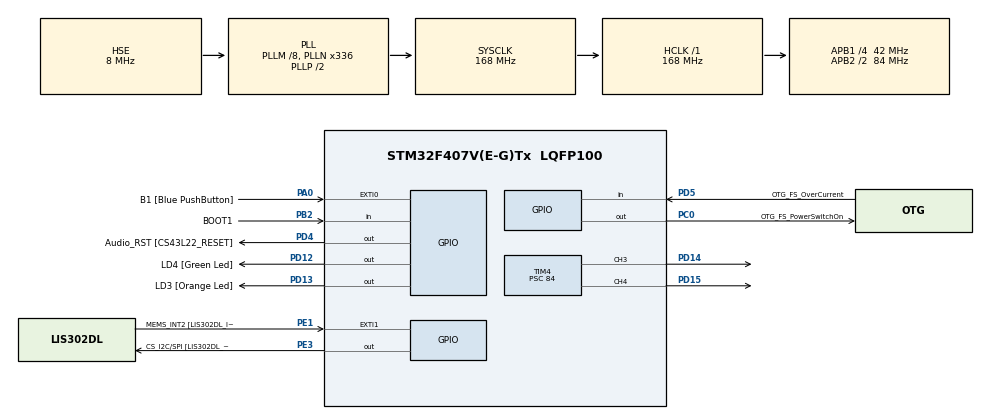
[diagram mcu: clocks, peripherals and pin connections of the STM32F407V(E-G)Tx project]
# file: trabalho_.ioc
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Dma.Request0=TIM4_CH3
Dma.TIM4_CH3.0.Direction=DMA_MEMORY_TO_PERIPH
Dma.TIM4_CH3.0.FIFOMode=DMA_FIFOMODE_DISABLE
Dma.TIM4_CH3.0.Instance=DMA1_Stream7
Dma.TIM4_CH3.0.MemDataAlignment=DMA_MDATAALIGN_HALFWORD
Dma.TIM4_CH3.0.MemInc=DMA_MINC_DISABLE
Dma.TIM4_CH3.0.Mode=DMA_CIRCULAR
Dma.TIM4_CH3.0.PeriphDataAlignment=DMA_PDATAALIGN_HALFWORD
Dma.TIM4_CH3.0.PeriphInc=DMA_PINC_DISABLE
Dma.TIM4_CH3.0.Priority=DMA_PRIORITY_LOW
Mcu.Family=STM32F4
Mcu.Name=STM32F407V(E-G)Tx
Mcu.Package=LQFP100
NVIC.DMA1_Stream7_IRQn=true\:0\:0\:false\:false\:true\:false\:true\:true
NVIC.PriorityGroup=NVIC_PRIORITYGROUP_0
PA0-WKUP.GPIO_Label=B1 [Blue PushButton]
PA0-WKUP.GPIO_ModeDefaultEXTI=GPIO_MODE_EVT_RISING
PA0-WKUP.GPIO_PuPd=GPIO_NOPULL
PA0-WKUP.Signal=GPXTI0
PA10.GPIO_Label=OTG_FS_ID
PA10.GPIO_Mode=GPIO_MODE_AF_PP
PA10.GPIO_PuPd=GPIO_NOPULL
PA10.GPIO_Speed=GPIO_SPEED_FREQ_LOW
PA10.Signal=USB_OTG_FS_ID
PA11.GPIO_Label=OTG_FS_DM
PA11.GPIO_Mode=GPIO_MODE_AF_PP
PA11.GPIO_PuPd=GPIO_NOPULL
PA11.GPIO_Speed=GPIO_SPEED_FREQ_LOW
PA11.Signal=USB_OTG_FS_DM
PA12.GPIO_Label=OTG_FS_DP
PA12.GPIO_Mode=GPIO_MODE_AF_PP
PA12.GPIO_PuPd=GPIO_NOPULL
PA12.GPIO_Speed=GPIO_SPEED_FREQ_LOW
PA12.Signal=USB_OTG_FS_DP
PA13.GPIO_Label=SWDIO
PA13.Mode=Serial_Wire
PA13.Signal=SYS_JTMS-SWDIO
PA14.GPIO_Label=SWCLK
PA14.Mode=Serial_Wire
PA14.Signal=SYS_JTCK-SWCLK
PA4.GPIO_Label=I2S3_WS [CS43L22_LRCK]
PA4.GPIO_Mode=GPIO_MODE_AF_PP
PA4.GPIO_PuPd=GPIO_NOPULL
PA4.GPIO_Speed=GPIO_SPEED_FREQ_LOW
PA4.Signal=I2S3_WS
PA5.GPIO_Label=SPI1_SCK [LIS302DL_SCL/SPC]
PA5.GPIO_Mode=GPIO_MODE_AF_PP
PA5.GPIO_PuPd=GPIO_NOPULL
PA5.GPIO_Speed=GPIO_SPEED_FREQ_LOW
PA5.Signal=SPI1_SCK
PA6.GPIO_Label=SPI1_MISO [LIS302DL_SDO]
PA6.GPIO_Mode=GPIO_MODE_AF_PP
PA6.GPIO_PuPd=GPIO_NOPULL
PA6.GPIO_Speed=GPIO_SPEED_FREQ_LOW
PA6.Signal=SPI1_MISO
PA7.GPIO_Label=SPI1_MOSI [LIS302DL_SDA/SDI/SDO]
PA7.GPIO_Mode=GPIO_MODE_AF_PP
PA7.GPIO_PuPd=GPIO_NOPULL
PA7.GPIO_Speed=GPIO_SPEED_FREQ_LOW
PA7.Signal=SPI1_MOSI
PA9.GPIO_Label=VBUS_FS
PA9.GPIO_Mode=GPIO_MODE_INPUT
PA9.GPIO_PuPd=GPIO_NOPULL
PA9.Signal=USB_OTG_FS_VBUS
PB10.GPIO_Label=CLK_IN [MP45DT02_CLK]
PB10.GPIO_Mode=GPIO_MODE_AF_PP
PB10.GPIO_PuPd=GPIO_NOPULL
PB10.GPIO_Speed=GPIO_SPEED_FREQ_LOW
PB10.Signal=I2S2_CK
PB2.GPIO_Label=BOOT1
PB2.GPIO_Mode=GPIO_MODE_INPUT
PB2.GPIO_PuPd=GPIO_NOPULL
PB2.Signal=GPIO_Input
PB3.GPIO_Label=SWO
PB3.Signal=SYS_JTDO-SWO
PB6.GPIO_Label=Audio_SCL [CS43L22_SCL]
PB6.GPIO_Mode=GPIO_MODE_AF_OD
PB6.GPIO_Pu=GPIO_PULLUP
PB6.GPIO_PuPd=GPIO_NOPULL
PB6.GPIO_Speed=GPIO_SPEED_FREQ_LOW
PB6.Signal=I2C1_SCL
PB9.GPIO_Label=Audio_SDA [CS43L22_SDA]
PB9.GPIO_Mode=GPIO_MODE_AF_OD
PB9.GPIO_Pu=GPIO_PULLUP
PB9.GPIO_PuPd=GPIO_NOPULL
PB9.GPIO_Speed=GPIO_SPEED_FREQ_LOW
PB9.Signal=I2C1_SDA
PC0.GPIO_Label=OTG_FS_PowerSwitchOn
PC0.GPIO_PuPd=GPIO_NOPULL
PC0.GPIO_Speed=GPIO_SPEED_FREQ_LOW
PC0.PinState=GPIO_PIN_SET
PC0.Signal=GPIO_Output
PC10.GPIO_Label=I2S3_SCK [CS43L22_SCLK]
PC10.GPIO_Mode=GPIO_MODE_AF_PP
PC10.GPIO_PuPd=GPIO_NOPULL
PC10.GPIO_Speed=GPIO_SPEED_FREQ_LOW
PC10.Signal=I2S3_CK
PC12.GPIO_Label=I2S3_SD [CS43L22_SDIN]
PC12.GPIO_Mode=GPIO_MODE_AF_PP
PC12.GPIO_PuPd=GPIO_NOPULL
PC12.GPIO_Speed=GPIO_SPEED_FREQ_LOW
PC12.Signal=I2S3_SD
PC14-OSC32_IN.GPIO_Label=PC14-OSC32_IN
PC14-OSC32_IN.Mode=LSE-External-Oscillator
PC14-OSC32_IN.Signal=RCC_OSC32_IN
PC15-OSC32_OUT.GPIO_Label=PC15-OSC32_OUT
PC15-OSC32_OUT.Mode=LSE-External-Oscillator
PC15-OSC32_OUT.Signal=RCC_OSC32_OUT
PC3.GPIO_Label=PDM_OUT [MP45DT02_DOUT]
PC3.GPIO_Mode=GPIO_MODE_AF_PP
PC3.GPIO_PuPd=GPIO_NOPULL
PC3.GPIO_Speed=GPIO_SPEED_FREQ_LOW
PC3.Signal=I2S2_SD
PC7.GPIO_Label=I2S3_MCK [CS43L22_MCLK]
PC7.GPIO_Mode=GPIO_MODE_AF_PP
PC7.GPIO_PuPd=GPIO_NOPULL
PC7.GPIO_Speed=GPIO_SPEED_FREQ_LOW
PC7.Signal=I2S3_MCK
PD12.GPIO_Label=LD4 [Green Led]
PD12.GPIO_PuPd=GPIO_NOPULL
PD12.GPIO_Speed=GPIO_SPEED_FREQ_LOW
PD12.Signal=GPIO_Output
PD13.GPIO_Label=LD3 [Orange Led]
PD13.GPIO_PuPd=GPIO_NOPULL
PD13.GPIO_Speed=GPIO_SPEED_FREQ_LOW
PD13.Signal=GPIO_Output
PD14.Signal=S_TIM4_CH3
PD15.Signal=S_TIM4_CH4
PD4.GPIO_Label=Audio_RST [CS43L22_RESET]
PD4.GPIO_PuPd=GPIO_NOPULL
PD4.GPIO_Speed=GPIO_SPEED_FREQ_LOW
PD4.Signal=GPIO_Output
PD5.GPIO_Label=OTG_FS_OverCurrent
PD5.GPIO_Mode=GPIO_MODE_INPUT
PD5.GPIO_PuPd=GPIO_NOPULL
PD5.Signal=GPIO_Input
PE1.GPIO_Label=MEMS_INT2 [LIS302DL_INT2]
PE1.GPIO_ModeDefaultEXTI=GPIO_MODE_EVT_RISING
PE1.GPIO_PuPd=GPIO_NOPULL
PE1.Signal=GPXTI1
PE3.GPIO_Label=CS_I2C/SPI [LIS302DL_CS_I2C/SPI]
PE3.GPIO_PuPd=GPIO_NOPULL
PE3.GPIO_Speed=GPIO_SPEED_FREQ_LOW
PE3.Signal=GPIO_Output
PH0-OSC_IN.GPIO_Label=PH0-OSC_IN
PH0-OSC_IN.Mode=HSE-External-Oscillator
PH0-OSC_IN.Signal=RCC_OSC_IN
PH1-OSC_OUT.GPIO_Label=PH1-OSC_OUT
PH1-OSC_OUT.Mode=HSE-External-Oscillator
PH1-OSC_OUT.Signal=RCC_OSC_OUT
ProjectManager.HeapSize=0x200
ProjectManager.StackSize=0x400
ProjectManager.TargetToolchain=STM32CubeIDE
RCC.48MHZClocksFreq_Value=48000000
RCC.AHBFreq_Value=168000000
RCC.APB1CLKDivider=RCC_HCLK_DIV4
RCC.APB1Freq_Value=42000000
RCC.APB1TimFreq_Value=84000000
RCC.APB2CLKDivider=RCC_HCLK_DIV2
RCC.APB2Freq_Value=84000000
RCC.APB2TimFreq_Value=168000000
RCC.CortexFreq_Value=168000000
RCC.HCLKFreq_Value=168000000
RCC.HSE_VALUE=8000000
RCC.HSI_VALUE=16000000
RCC.PLLM=8
RCC.PLLN=336
RCC.PLLQ=7
RCC.PLLSourceVirtual=RCC_PLLSOURCE_HSE
RCC.SYSCLKFreq_VALUE=168000000
RCC.SYSCLKSource=RCC_SYSCLKSOURCE_PLLCLK
RCC.VCOOutputFreq_Value=336000000
SH.S_TIM4_CH3.0=TIM4_CH3,PWM Generation3 CH3
SH.S_TIM4_CH4.0=TIM4_CH4,PWM Generation4 CH4
TIM4.AutoReloadPreload=TIM_AUTORELOAD_PRELOAD_DISABLE
TIM4.Channel-PWM\ Generation3\ CH3=TIM_CHANNEL_3
TIM4.Channel-PWM\ Generation4\ CH4=TIM_CHANNEL_4
TIM4.OCFastMode_PWM-PWM\ Generation3\ CH3=TIM_OCFAST_DISABLE
TIM4.OCMode_PWM-PWM\ Generation3\ CH3=TIM_OCMODE_PWM1
TIM4.OCMode_PWM-PWM\ Generation4\ CH4=TIM_OCMODE_PWM1
TIM4.OCPolarity_4=TIM_OCPOLARITY_LOW
TIM4.Period=1000
TIM4.Prescaler=84
VP_TIM4_VS_ClockSourceINT.Mode=Internal
board=STM32F407G-DISC1

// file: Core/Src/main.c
/* USER CODE BEGIN Header */
/**
  ******************************************************************************
  * @file           : main.c
  * @brief          : Main program body
  ******************************************************************************
  * @attention
  *
  * Copyright (c) 2023 STMicroelectronics.
  * All rights reserved.
  *
  * This software is licensed under terms that can be found in the LICENSE file
  * in the root directory of this software component.
  * If no LICENSE file comes with this software, it is provided AS-IS.
  *
  ******************************************************************************
  */
/* USER CODE END Header */
#include "main.h"

/* USER CODE BEGIN Includes */
#include <math.h>

/* USER CODE END Includes */

TIM_HandleTypeDef htim4;
DMA_HandleTypeDef hdma_tim4_ch3;

void SystemClock_Config(void);
static void MX_GPIO_Init(void);
static void MX_DMA_Init(void);
static void MX_TIM4_Init(void);

/* USER CODE BEGIN 0 */

static const uint16_t TIM_PWM_PERIOD = 1000;
static uint32_t pwmVal = 50;
static uint32_t sinPwmVal = 0;

void HAL_TIM_PWM_PulseFinishedCallback(TIM_HandleTypeDef *htim)
{
	int bp = 0;
	(void)bp;

	pwmVal += 1;

	double angPU = (double)pwmVal/TIM_PWM_PERIOD;
	double angRad = angPU * 2 * M_PI;
	double sinVal = sin(angRad);

	sinPwmVal = (sinVal + 1.0)/2.0 * TIM_PWM_PERIOD;

	TIM4->CCR4 = (uint16_t)sinPwmVal;

	if (pwmVal >= TIM_PWM_PERIOD)
		pwmVal = 0;
}

/* USER CODE END 0 */

int main(void)
{

  /* MCU Configuration--------------------------------------------------------*/

  /* Reset of all peripherals, Initializes the Flash interface and the Systick. */
  HAL_Init();

  /* Configure the system clock */
  SystemClock_Config();

  /* Initialize all configured peripherals */
  MX_GPIO_Init();
  MX_DMA_Init();
  MX_TIM4_Init();
  /* USER CODE BEGIN 2 */

  HAL_TIM_PWM_Start(&htim4, TIM_CHANNEL_4);

  HAL_TIM_PWM_Start_DMA(&htim4, TIM_CHANNEL_3, (uint32_t *)&sinPwmVal, 1);

  /* USER CODE END 2 */

  /* Infinite loop */
  while (1)
  {

  }
}

void SystemClock_Config(void)
{
  RCC_OscInitTypeDef RCC_OscInitStruct = {0};
  RCC_ClkInitTypeDef RCC_ClkInitStruct = {0};

  /** Configure the main internal regulator output voltage
  */
  __HAL_RCC_PWR_CLK_ENABLE();
  __HAL_PWR_VOLTAGESCALING_CONFIG(PWR_REGULATOR_VOLTAGE_SCALE1);

  /** Initializes the RCC Oscillators according to the specified parameters
  * in the RCC_OscInitTypeDef structure.
  */
  RCC_OscInitStruct.OscillatorType = RCC_OSCILLATORTYPE_HSE;
  RCC_OscInitStruct.HSEState = RCC_HSE_ON;
  RCC_OscInitStruct.PLL.PLLState = RCC_PLL_ON;
  RCC_OscInitStruct.PLL.PLLSource = RCC_PLLSOURCE_HSE;
  RCC_OscInitStruct.PLL.PLLM = 8;
  RCC_OscInitStruct.PLL.PLLN = 336;
  RCC_OscInitStruct.PLL.PLLP = RCC_PLLP_DIV2;
  RCC_OscInitStruct.PLL.PLLQ = 7;
  if (HAL_RCC_OscConfig(&RCC_OscInitStruct) != HAL_OK)
  {
    Error_Handler();
  }

  /** Initializes the CPU, AHB and APB buses clocks
  */
  RCC_ClkInitStruct.ClockType = RCC_CLOCKTYPE_HCLK|RCC_CLOCKTYPE_SYSCLK
                              |RCC_CLOCKTYPE_PCLK1|RCC_CLOCKTYPE_PCLK2;
  RCC_ClkInitStruct.SYSCLKSource = RCC_SYSCLKSOURCE_PLLCLK;
  RCC_ClkInitStruct.AHBCLKDivider = RCC_SYSCLK_DIV1;
  RCC_ClkInitStruct.APB1CLKDivider = RCC_HCLK_DIV4;
  RCC_ClkInitStruct.APB2CLKDivider = RCC_HCLK_DIV2;

  if (HAL_RCC_ClockConfig(&RCC_ClkInitStruct, FLASH_LATENCY_5) != HAL_OK)
  {
    Error_Handler();
  }
}

static void MX_TIM4_Init(void)
{

  TIM_ClockConfigTypeDef sClockSourceConfig = {0};
  TIM_MasterConfigTypeDef sMasterConfig = {0};
  TIM_OC_InitTypeDef sConfigOC = {0};

  htim4.Instance = TIM4;
  htim4.Init.Prescaler = 84;
  htim4.Init.CounterMode = TIM_COUNTERMODE_UP;
  htim4.Init.Period = 1000;
  htim4.Init.ClockDivision = TIM_CLOCKDIVISION_DIV1;
  htim4.Init.AutoReloadPreload = TIM_AUTORELOAD_PRELOAD_DISABLE;
  if (HAL_TIM_Base_Init(&htim4) != HAL_OK)
  {
    Error_Handler();
  }
  sClockSourceConfig.ClockSource = TIM_CLOCKSOURCE_INTERNAL;
  if (HAL_TIM_ConfigClockSource(&htim4, &sClockSourceConfig) != HAL_OK)
  {
    Error_Handler();
  }
  if (HAL_TIM_PWM_Init(&htim4) != HAL_OK)
  {
    Error_Handler();
  }
  sMasterConfig.MasterOutputTrigger = TIM_TRGO_RESET;
  sMasterConfig.MasterSlaveMode = TIM_MASTERSLAVEMODE_DISABLE;
  if (HAL_TIMEx_MasterConfigSynchronization(&htim4, &sMasterConfig) != HAL_OK)
  {
    Error_Handler();
  }
  sConfigOC.OCMode = TIM_OCMODE_PWM1;
  sConfigOC.Pulse = 0;
  sConfigOC.OCPolarity = TIM_OCPOLARITY_HIGH;
  sConfigOC.OCFastMode = TIM_OCFAST_DISABLE;
  if (HAL_TIM_PWM_ConfigChannel(&htim4, &sConfigOC, TIM_CHANNEL_3) != HAL_OK)
  {
    Error_Handler();
  }
  sConfigOC.OCPolarity = TIM_OCPOLARITY_LOW;
  if (HAL_TIM_PWM_ConfigChannel(&htim4, &sConfigOC, TIM_CHANNEL_4) != HAL_OK)
  {
    Error_Handler();
  }
  HAL_TIM_MspPostInit(&htim4);

}

static void MX_DMA_Init(void)
{

  /* DMA controller clock enable */
  __HAL_RCC_DMA1_CLK_ENABLE();

  /* DMA interrupt init */
  /* DMA1_Stream7_IRQn interrupt configuration */
  HAL_NVIC_SetPriority(DMA1_Stream7_IRQn, 0, 0);
  HAL_NVIC_EnableIRQ(DMA1_Stream7_IRQn);

}

static void MX_GPIO_Init(void)
{
  GPIO_InitTypeDef GPIO_InitStruct = {0};

  /* GPIO Ports Clock Enable */
  __HAL_RCC_GPIOE_CLK_ENABLE();
  __HAL_RCC_GPIOC_CLK_ENABLE();
  __HAL_RCC_GPIOH_CLK_ENABLE();
  __HAL_RCC_GPIOA_CLK_ENABLE();
  __HAL_RCC_GPIOB_CLK_ENABLE();
  __HAL_RCC_GPIOD_CLK_ENABLE();

  /*Configure GPIO pin Output Level */
  HAL_GPIO_WritePin(CS_I2C_SPI_GPIO_Port, CS_I2C_SPI_Pin, GPIO_PIN_RESET);

  /*Configure GPIO pin Output Level */
  HAL_GPIO_WritePin(OTG_FS_PowerSwitchOn_GPIO_Port, OTG_FS_PowerSwitchOn_Pin, GPIO_PIN_SET);

  /*Configure GPIO pin Output Level */
  HAL_GPIO_WritePin(GPIOD, LD4_Pin|LD3_Pin|Audio_RST_Pin, GPIO_PIN_RESET);

  /*Configure GPIO pin : CS_I2C_SPI_Pin */
  GPIO_InitStruct.Pin = CS_I2C_SPI_Pin;
  GPIO_InitStruct.Mode = GPIO_MODE_OUTPUT_PP;
  GPIO_InitStruct.Pull = GPIO_NOPULL;
  GPIO_InitStruct.Speed = GPIO_SPEED_FREQ_LOW;
  HAL_GPIO_Init(CS_I2C_SPI_GPIO_Port, &GPIO_InitStruct);

  /*Configure GPIO pin : OTG_FS_PowerSwitchOn_Pin */
  GPIO_InitStruct.Pin = OTG_FS_PowerSwitchOn_Pin;
  GPIO_InitStruct.Mode = GPIO_MODE_OUTPUT_PP;
  GPIO_InitStruct.Pull = GPIO_NOPULL;
  GPIO_InitStruct.Speed = GPIO_SPEED_FREQ_LOW;
  HAL_GPIO_Init(OTG_FS_PowerSwitchOn_GPIO_Port, &GPIO_InitStruct);

  /*Configure GPIO pin : PDM_OUT_Pin */
  GPIO_InitStruct.Pin = PDM_OUT_Pin;
  GPIO_InitStruct.Mode = GPIO_MODE_AF_PP;
  GPIO_InitStruct.Pull = GPIO_NOPULL;
  GPIO_InitStruct.Speed = GPIO_SPEED_FREQ_LOW;
  GPIO_InitStruct.Alternate = GPIO_AF5_SPI2;
  HAL_GPIO_Init(PDM_OUT_GPIO_Port, &GPIO_InitStruct);

  /*Configure GPIO pin : B1_Pin */
  GPIO_InitStruct.Pin = B1_Pin;
  GPIO_InitStruct.Mode = GPIO_MODE_EVT_RISING;
  GPIO_InitStruct.Pull = GPIO_NOPULL;
  HAL_GPIO_Init(B1_GPIO_Port, &GPIO_InitStruct);

  /*Configure GPIO pin : I2S3_WS_Pin */
  GPIO_InitStruct.Pin = I2S3_WS_Pin;
  GPIO_InitStruct.Mode = GPIO_MODE_AF_PP;
  GPIO_InitStruct.Pull = GPIO_NOPULL;
  GPIO_InitStruct.Speed = GPIO_SPEED_FREQ_LOW;
  GPIO_InitStruct.Alternate = GPIO_AF6_SPI3;
  HAL_GPIO_Init(I2S3_WS_GPIO_Port, &GPIO_InitStruct);

  /*Configure GPIO pins : SPI1_SCK_Pin SPI1_MISO_Pin SPI1_MOSI_Pin */
  GPIO_InitStruct.Pin = SPI1_SCK_Pin|SPI1_MISO_Pin|SPI1_MOSI_Pin;
  GPIO_InitStruct.Mode = GPIO_MODE_AF_PP;
  GPIO_InitStruct.Pull = GPIO_NOPULL;
  GPIO_InitStruct.Speed = GPIO_SPEED_FREQ_LOW;
  GPIO_InitStruct.Alternate = GPIO_AF5_SPI1;
  HAL_GPIO_Init(GPIOA, &GPIO_InitStruct);

  /*Configure GPIO pin : BOOT1_Pin */
  GPIO_InitStruct.Pin = BOOT1_Pin;
  GPIO_InitStruct.Mode = GPIO_MODE_INPUT;
  GPIO_InitStruct.Pull = GPIO_NOPULL;
  HAL_GPIO_Init(BOOT1_GPIO_Port, &GPIO_InitStruct);

  /*Configure GPIO pin : CLK_IN_Pin */
  GPIO_InitStruct.Pin = CLK_IN_Pin;
  GPIO_InitStruct.Mode = GPIO_MODE_AF_PP;
  GPIO_InitStruct.Pull = GPIO_NOPULL;
  GPIO_InitStruct.Speed = GPIO_SPEED_FREQ_LOW;
  GPIO_InitStruct.Alternate = GPIO_AF5_SPI2;
  HAL_GPIO_Init(CLK_IN_GPIO_Port, &GPIO_InitStruct);

  /*Configure GPIO pins : LD4_Pin LD3_Pin Audio_RST_Pin */
  GPIO_InitStruct.Pin = LD4_Pin|LD3_Pin|Audio_RST_Pin;
  GPIO_InitStruct.Mode = GPIO_MODE_OUTPUT_PP;
  GPIO_InitStruct.Pull = GPIO_NOPULL;
  GPIO_InitStruct.Speed = GPIO_SPEED_FREQ_LOW;
  HAL_GPIO_Init(GPIOD, &GPIO_InitStruct);

  /*Configure GPIO pins : I2S3_MCK_Pin I2S3_SCK_Pin I2S3_SD_Pin */
  GPIO_InitStruct.Pin = I2S3_MCK_Pin|I2S3_SCK_Pin|I2S3_SD_Pin;
  GPIO_InitStruct.Mode = GPIO_MODE_AF_PP;
  GPIO_InitStruct.Pull = GPIO_NOPULL;
  GPIO_InitStruct.Speed = GPIO_SPEED_FREQ_LOW;
  GPIO_InitStruct.Alternate = GPIO_AF6_SPI3;
  HAL_GPIO_Init(GPIOC, &GPIO_InitStruct);

  /*Configure GPIO pin : VBUS_FS_Pin */
  GPIO_InitStruct.Pin = VBUS_FS_Pin;
  GPIO_InitStruct.Mode = GPIO_MODE_INPUT;
  GPIO_InitStruct.Pull = GPIO_NOPULL;
  HAL_GPIO_Init(VBUS_FS_GPIO_Port, &GPIO_InitStruct);

  /*Configure GPIO pins : OTG_FS_ID_Pin OTG_FS_DM_Pin OTG_FS_DP_Pin */
  GPIO_InitStruct.Pin = OTG_FS_ID_Pin|OTG_FS_DM_Pin|OTG_FS_DP_Pin;
  GPIO_InitStruct.Mode = GPIO_MODE_AF_PP;
  GPIO_InitStruct.Pull = GPIO_NOPULL;
  GPIO_InitStruct.Speed = GPIO_SPEED_FREQ_LOW;
  GPIO_InitStruct.Alternate = GPIO_AF10_OTG_FS;
  HAL_GPIO_Init(GPIOA, &GPIO_InitStruct);

  /*Configure GPIO pin : OTG_FS_OverCurrent_Pin */
  GPIO_InitStruct.Pin = OTG_FS_OverCurrent_Pin;
  GPIO_InitStruct.Mode = GPIO_MODE_INPUT;
  GPIO_InitStruct.Pull = GPIO_NOPULL;
  HAL_GPIO_Init(OTG_FS_OverCurrent_GPIO_Port, &GPIO_InitStruct);

  /*Configure GPIO pins : Audio_SCL_Pin Audio_SDA_Pin */
  GPIO_InitStruct.Pin = Audio_SCL_Pin|Audio_SDA_Pin;
  GPIO_InitStruct.Mode = GPIO_MODE_AF_OD;
  GPIO_InitStruct.Pull = GPIO_PULLUP;
  GPIO_InitStruct.Speed = GPIO_SPEED_FREQ_LOW;
  GPIO_InitStruct.Alternate = GPIO_AF4_I2C1;
  HAL_GPIO_Init(GPIOB, &GPIO_InitStruct);

  /*Configure GPIO pin : MEMS_INT2_Pin */
  GPIO_InitStruct.Pin = MEMS_INT2_Pin;
  GPIO_InitStruct.Mode = GPIO_MODE_EVT_RISING;
  GPIO_InitStruct.Pull = GPIO_NOPULL;
  HAL_GPIO_Init(MEMS_INT2_GPIO_Port, &GPIO_InitStruct);

}

void Error_Handler(void)
{
  __disable_irq();
  while (1)
  {
  }
}
